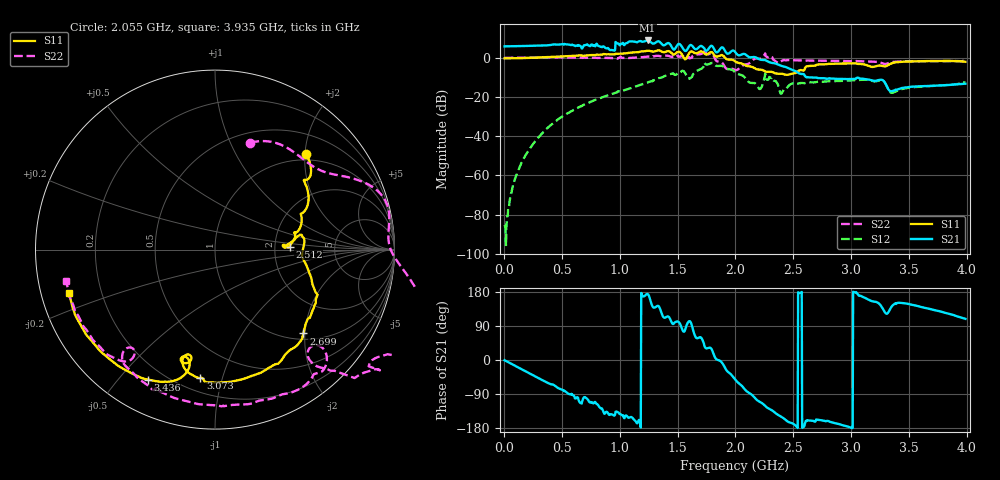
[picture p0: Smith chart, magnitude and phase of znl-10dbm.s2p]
#  HZ  S  RI  R  50.00
! Rohde & Schwarz Vector Network Analyzer
! Rohde-Schwarz,ZNL20-2Port,1323001220101312,1.72.1.6-23.02.1.246
! Created: UTC 10/14/2024, 8:32:38 PM
! freq[Hz]  re:S11  im:S11  re:S21  im:S21  re:S12  im:S12  re:S22  im:S22
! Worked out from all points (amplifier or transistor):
!   1023 points, 3.9 MHz to 3.99 GHz, reference 50 ohm
!   highest |S21| = 9.2 dB at 1.24 GHz (marker M1)
!   |S21| within 3 dB of that: 19.86 MHz to 661.6 MHz (641.8 MHz wide, 188 % of centre)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
!   unconditionally stable (mu >= 1): 2.344 GHz to end of sweep
!   at 666.9 MHz: K = -0.91, MSG = 15.2 dB, |S12| = -24.5 dB
!   at 1.997 GHz: K = 0.08, MSG = 5.2 dB, |S12| = -7.0 dB
!   at 3.99 GHz: K = 1.47, MAG = -4.4 dB, |S12| = -12.4 dB
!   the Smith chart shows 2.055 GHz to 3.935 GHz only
!   S11 on the Smith chart (normalised r, x): 2.055 GHz: 0.88, +2.03; 2.512 GHz: 2.42, +0.10; 2.699 GHz: 1.13, -1.96; 3.073 GHz: 0.29, -0.85; 3.436 GHz: 0.14, -0.60; 3.935 GHz: 0.09, -0.14
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3900000  1 -0.00541  2.022 -0.0226  -1.79e-05 -5.11e-05  -1.028 0.00885
4.368e8  0.8632 -0.675  0.8688 -2.097  -0.0195 0.013  -0.5246 0.9236
6.708e8  0.5127 -1.058  -0.7618 -1.639  -0.0224 0.0555  0.0552 1.038
1.0998e9  -0.4844 -1.317  -2.371 -1.339  0.0973 0.1438  0.8536 0.5708
1.2402e9  -1.088 -1.119  -2.856 0.298  0.1903 0.1499  1.062 0.3202
1.3338e9  -1.454 -0.6674  -2.17 1.662  0.284 0.121  1.158 0.0317
1.3806e9  -1.415 -0.2485  -0.8125 1.986  0.331 0.0882  1.155 -0.1042
1.5522e9  -0.9397 0.4758  0.448 1.629  0.3916 -0.2625  0.8789 -0.6857
1.6068e9  -1.421 0.2179  -0.4581 2.112  0.2699 -0.1454  0.8457 -0.5494
1.7082e9  -1.06 1.058  1.117 1.733  0.4331 -0.3351  0.7078 -1.103
1.794e9  -0.4835 1.355  1.84 1.01  0.1264 -0.749  -0.5129 -1.242
1.9968e9  0.4779 0.6972  0.9302 -1.139  -0.4241 -0.1391  -0.1606 0.4762
2.0553e9  0.5084 0.5304  0.4747 -1.168  -0.368 0.0545  0.1976 0.5958
2.2386e9  0.4789 0.1352  -0.3952 -0.8206  0.2101 0.0864  1.088 -0.1676
2.5116e9  0.4152 0.0163  -0.4761 -0.0794  -0.091 -0.2041  0.3807 -0.8049
2.6637e9  0.5371 -0.3556  -0.305 -0.1102  -0.1703 -0.1717  0.1314 -0.8633
2.6988e9  0.4921 -0.4671  -0.2974 -0.1266  -0.1846 -0.1644  0.0779 -0.8681
3.0732e9  -0.0814 -0.7164  -0.2997 0.0569  -0.2785 0.0241  -0.3788 -0.7532
3.3267e9  -0.1516 -0.6738  -0.0952 0.1236  -0.0792 0.1296  -0.4608 -0.6065
3.4359e9  -0.3755 -0.7243  -0.1504 0.0848  -0.1381 0.0848  -0.6058 -0.5806
3.9351e9  -0.8109 -0.2412  -0.0873 0.1994  -0.0742 0.211  -0.8309 -0.1755
3.9897e9  -0.7983 -0.1708  -0.0718 0.2128  -0.0121 0.2406  -0.8594 -0.1591
